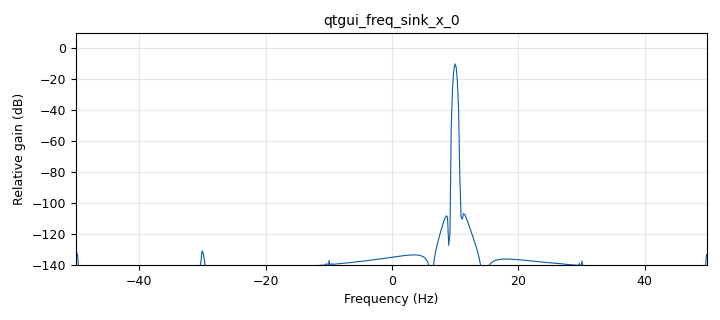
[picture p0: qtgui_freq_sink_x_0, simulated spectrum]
<?xml version='1.0' encoding='utf-8'?>
<?grc format='1' created='3.7.9'?>
<flow_graph>
<block>
<key>options</key>
<param><key>id</key><value>top_block</value></param>
<param><key>category</key><value>Custom</value></param>
<param><key>generate_options</key><value>qt_gui</value></param>
</block>
<block>
<key>variable_qtgui_range</key>
<param><key>id</key><value>doppler</value></param>
<param><key>value</key><value>0.0</value></param>
<param><key>orient</key><value>Qt.Horizontal</value></param>
<param><key>start</key><value>0.0</value></param>
<param><key>step</key><value>1.0</value></param>
<param><key>stop</key><value>500.0</value></param>
</block>
<block>
<key>variable</key>
<param><key>id</key><value>samp_rate</value></param>
<param><key>value</key><value>100</value></param>
</block>
<block>
<key>analog_sig_source_x</key>
<param><key>id</key><value>analog_sig_source_x_0</value></param>
<param><key>amp</key><value>1</value></param>
<param><key>freq</key><value>10</value></param>
<param><key>offset</key><value>0</value></param>
<param><key>type</key><value>complex</value></param>
<param><key>samp_rate</key><value>samp_rate</value></param>
<param><key>waveform</key><value>analog.GR_COS_WAVE</value></param>
</block>
<block>
<key>blocks_throttle</key>
<param><key>id</key><value>blocks_throttle_0</value></param>
<param><key>samples_per_second</key><value>100000</value></param>
<param><key>type</key><value>complex</value></param>
</block>
<block>
<key>blocks_vector_source_x</key>
<param><key>id</key><value>blocks_vector_source_x_0</value></param>
<param><key>_enabled</key><value>0</value></param>
<param><key>type</key><value>complex</value></param>
<param><key>repeat</key><value>True</value></param>
<param><key>vector</key><value>[1+1j] + [0]*1000</value></param>
</block>
<block>
<key>channels_channel_model</key>
<param><key>id</key><value>channels_channel_model_0</value></param>
<param><key>_enabled</key><value>0</value></param>
<param><key>epsilon</key><value>1.0</value></param>
<param><key>freq_offset</key><value>0.0</value></param>
<param><key>noise_voltage</key><value>0.0</value></param>
<param><key>seed</key><value>0</value></param>
<param><key>taps</key><value>[1.0 + 1.0j]+100*[0.0+0.0j]+[0.5+0.5j]</value></param>
</block>
<block>
<key>channels_fading_model</key>
<param><key>id</key><value>channels_fading_model_0</value></param>
<param><key>LOS</key><value>False</value></param>
<param><key>fDTs</key><value>doppler/samp_rate</value></param>
<param><key>N</key><value>8</value></param>
<param><key>seed</key><value>0</value></param>
</block>
<block>
<key>qtgui_freq_sink_x</key>
<param><key>id</key><value>qtgui_freq_sink_x_0</value></param>
<param><key>bw</key><value>samp_rate</value></param>
<param><key>fc</key><value>0</value></param>
<param><key>fftsize</key><value>512</value></param>
<param><key>showports</key><value>True</value></param>
<param><key>type</key><value>complex</value></param>
<param><key>wintype</key><value>firdes.WIN_BLACKMAN_hARRIS</value></param>
</block>
<block>
<key>qtgui_time_sink_x</key>
<param><key>id</key><value>qtgui_time_sink_x_0</value></param>
<param><key>_enabled</key><value>0</value></param>
<param><key>color1</key><value>"blue"</value></param>
<param><key>label1</key><value></value></param>
<param><key>color2</key><value>"red"</value></param>
<param><key>label2</key><value></value></param>
<param><key>size</key><value>1024*100</value></param>
<param><key>srate</key><value>samp_rate</value></param>
<param><key>type</key><value>complex</value></param>
</block>
<connection><source_block_id>analog_sig_source_x_0</source_block_id><sink_block_id>channels_fading_model_0</sink_block_id><source_key>0</source_key><sink_key>0</sink_key></connection>
<connection><source_block_id>blocks_throttle_0</source_block_id><sink_block_id>qtgui_freq_sink_x_0</sink_block_id><source_key>0</source_key><sink_key>0</sink_key></connection>
<connection><source_block_id>blocks_throttle_0</source_block_id><sink_block_id>qtgui_time_sink_x_0</sink_block_id><source_key>0</source_key><sink_key>0</sink_key></connection>
<connection><source_block_id>blocks_vector_source_x_0</source_block_id><sink_block_id>channels_channel_model_0</sink_block_id><source_key>0</source_key><sink_key>0</sink_key></connection>
<connection><source_block_id>blocks_vector_source_x_0</source_block_id><sink_block_id>channels_fading_model_0</sink_block_id><source_key>0</source_key><sink_key>0</sink_key></connection>
<connection><source_block_id>channels_channel_model_0</source_block_id><sink_block_id>blocks_throttle_0</sink_block_id><source_key>0</source_key><sink_key>0</sink_key></connection>
<connection><source_block_id>channels_fading_model_0</source_block_id><sink_block_id>blocks_throttle_0</sink_block_id><source_key>0</source_key><sink_key>0</sink_key></connection>
</flow_graph>
